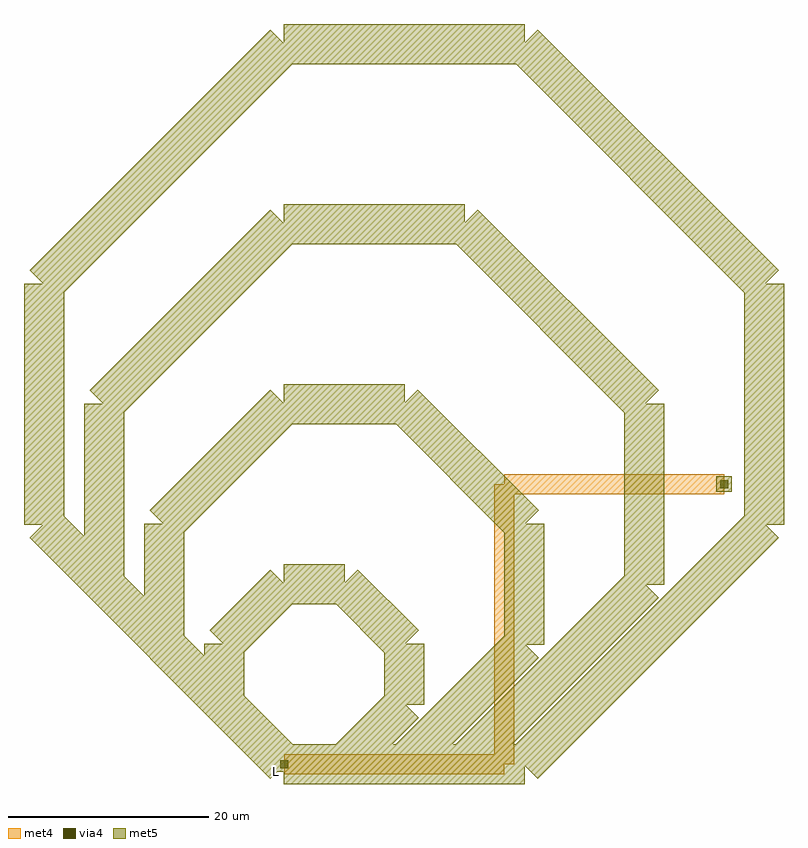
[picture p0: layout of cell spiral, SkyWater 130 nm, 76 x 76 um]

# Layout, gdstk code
import gdstk
lib = gdstk.Library(unit=1e-6, precision=1e-09)
def R(c, l, rs):  # rectangles x0, y0, x1, y1
    for r in rs: c.add(gdstk.rectangle(r[:2], r[2:], *l))
def P(c, l, *ps):  # polygons
    for p in ps: c.add(gdstk.Polygon(p, *l))
met4 = (71, 20)
via4 = (71, 44)
met5 = (72, 20)

spiral = lib.new_cell('spiral')
R(spiral, met4, [(0,-1,22,1), (21,0,23,28), (22,27,44,29)])
R(spiral, via4, [(-0.4,-0.4,0.4,0.4), (43.6,27.6,44.4,28.4)])
R(spiral, met5, [(-0.05,-2,6.05,2), (-0.05,-2,12.05,2), (-0.05,-2,18.05,2), (-0.05,-2,24.05,2), (-0.76,-0.76,0.76,0.76), (-0.76,-0.76,0.76,0.76), (-8,5.95,-4,12.05), (10,5.95,14,12.05), (-14,11.95,-10,24.05), (22,11.95,26,24.05), (-0.05,16,6.05,20), (-20,17.95,-16,36.05), (34,17.95,38,36.05), (-26,23.95,-22,48.05), (46,23.95,50,48.05), (43.24,27.24,44.76,28.76), (-0.05,34,12.05,38), (-0.05,52,18.05,56), (-0.05,70,24.05,74)])
P(spiral, met5, [(7.38,-1.45),(4.55,1.38),(10.62,7.45),(13.45,4.62)],
  [(10.62,10.55),(4.55,16.62),(7.38,19.45),(13.45,13.38)],
  [(-4.62,10.55),(-7.45,13.38),(-1.38,19.45),(1.45,16.62)],
  [(-1.38,-1.45),(-7.45,4.62),(-4.62,7.45),(1.45,1.38)],
  [(13.38,-1.45),(10.55,1.38),(22.62,13.45),(25.45,10.62)],
  [(22.62,22.55),(10.55,34.62),(13.38,37.45),(25.45,25.38)],
  [(-10.62,22.55),(-13.45,25.38),(-1.38,37.45),(1.45,34.62)],
  [(-1.38,-1.45),(-13.45,10.62),(-10.62,13.45),(1.45,1.38)],
  [(19.38,-1.45),(16.55,1.38),(34.62,19.45),(37.45,16.62)],
  [(34.62,34.55),(16.55,52.62),(19.38,55.45),(37.45,37.38)],
  [(-16.62,34.55),(-19.45,37.38),(-1.38,55.45),(1.45,52.62)],
  [(-1.38,-1.45),(-19.45,16.62),(-16.62,19.45),(1.45,1.38)],
  [(25.38,-1.45),(22.55,1.38),(46.62,25.45),(49.45,22.62)],
  [(46.62,46.55),(22.55,70.62),(25.38,73.45),(49.45,49.38)],
  [(-22.62,46.55),(-25.45,49.38),(-1.38,73.45),(1.45,70.62)],
  [(-1.38,-1.45),(-25.45,22.62),(-22.62,25.45),(1.45,1.38)])
spiral.add(gdstk.Label('L', (-0.76,-0.76), layer=72, texttype=5))
spiral.add(gdstk.Label('L', (0,0), layer=72, texttype=5))

lib.write_gds('spiral.gds')
